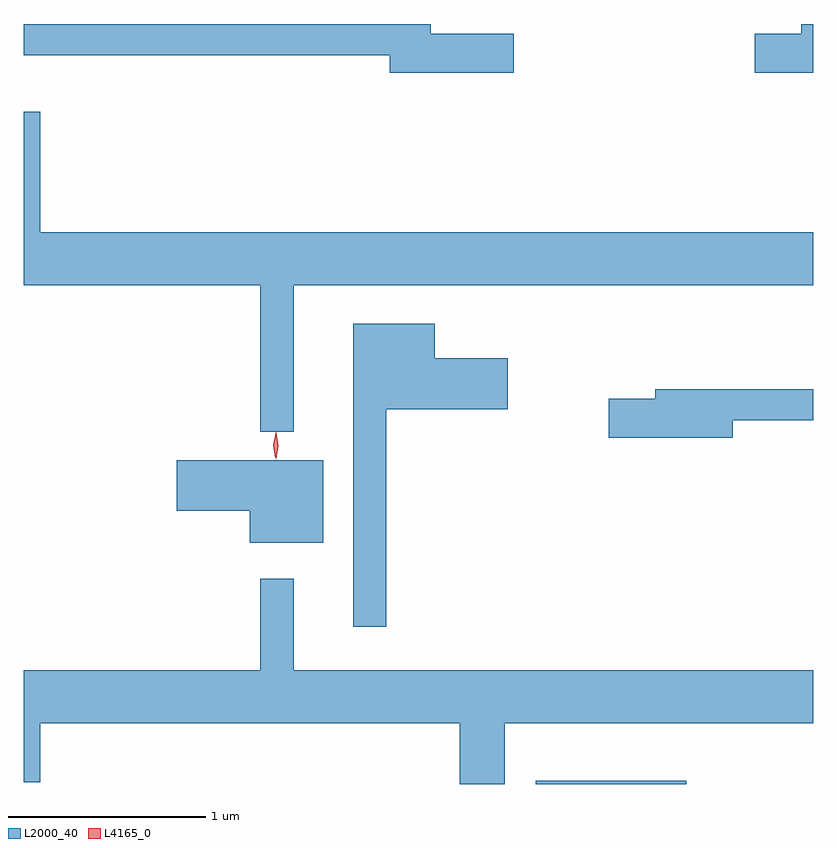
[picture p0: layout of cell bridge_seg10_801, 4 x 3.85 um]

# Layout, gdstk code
import gdstk
lib = gdstk.Library(unit=1e-6, precision=1e-09)
def R(c, l, rs):  # rectangles x0, y0, x1, y1
    for r in rs: c.add(gdstk.rectangle(r[:2], r[2:], *l))
def P(c, l, *ps):  # polygons
    for p in ps: c.add(gdstk.Polygon(p, *l))
L2000_40 = (2000, 40)
L4165_0 = (4165, 0)

bridge_seg10_801 = lib.new_cell('bridge_seg10_801')
R(bridge_seg10_801, L2000_40, [(357.716,2098.067,358.479,2098.084)])
P(bridge_seg10_801, L2000_40, [(357.604,2101.869),(357.184,2101.869),(357.184,2101.919),(355.122,2101.919),(355.122,2101.761),(356.976,2101.761),(356.976,2101.671),(357.604,2101.671)],
  [(359.122,2101.919),(359.061,2101.919),(359.061,2101.869),(358.826,2101.869),(358.826,2101.671),(359.122,2101.671)],
  [(356.489,2100.596),(359.122,2100.596),(359.122,2100.864),(355.204,2100.864),(355.204,2101.474),(355.122,2101.474),(355.122,2100.596),(356.321,2100.596),(356.321,2099.853),(356.489,2099.853)],
  [(356.959,2099.966),(357.574,2099.966),(357.574,2100.224),(357.204,2100.224),(357.204,2100.399),(356.791,2100.399),(356.791,2098.863),(356.959,2098.863)],
  [(358.714,2099.911),(359.122,2099.911),(359.122,2100.069),(358.321,2100.069),(358.321,2100.019),(358.086,2100.019),(358.086,2099.821),(358.714,2099.821)],
  [(356.639,2099.709),(355.896,2099.709),(355.896,2099.451),(356.266,2099.451),(356.266,2099.291),(356.639,2099.291)],
  [(357.559,2098.376),(359.122,2098.376),(359.122,2098.644),(356.489,2098.644),(356.489,2099.108),(356.321,2099.108),(356.321,2098.644),(355.122,2098.644),(355.122,2098.076),(355.204,2098.076),(355.204,2098.376),(357.331,2098.376),(357.331,2098.067),(357.559,2098.067)])
P(bridge_seg10_801, L4165_0, [(356.401,2099.714),(356.392,2099.782),(356.401,2099.85),(356.402,2099.85),(356.402,2099.85),(356.412,2099.782),(356.402,2099.714),(356.402,2099.714)],
  [(356.396,2099.72),(356.396,2099.721),(356.387,2099.784),(356.398,2099.846),(356.398,2099.847),(356.399,2099.846),(356.407,2099.783),(356.397,2099.721)])

lib.write_gds('bridge_seg10_801.gds')
